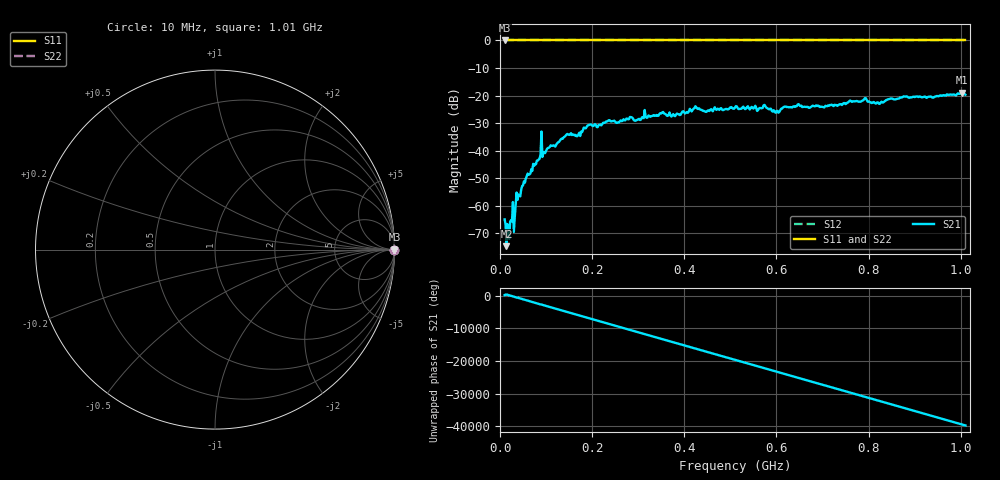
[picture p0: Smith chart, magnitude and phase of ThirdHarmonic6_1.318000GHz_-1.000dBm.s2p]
! 8/16/2025 2:38:17 PM
! C:\ANRITSUVNA\TEMP\TEMP.S2P
! CHANNEL.1
! TR.MEASUREMENT
! RAW.DATA
! RF.CORRECTION.OFF
! AVERAGING.OFF
! IF.BANDWIDTH: 5KHZ
! SWEEPTYPE:  FREQ.SWEEP(Linear)
! Reference Plane Port Info
! PORT:  PORT1  PORT2
! DISTANCE:  0  m  0  m
! TIME:  0  s  0  s
! PHASE.OFFSET:  0  deg.  0  deg.
! LOSS:  0  dB  0  dB
! REF.LOSS:  0  dB  0  dB
! REF.FREQ:  0  Hz  0  Hz
! Power Info
! POWER:  -20  dBm  -20  dBm
! EFF.POWER:  -20  dBm  -20  dBm
! SOURCE.ATTEN:  0  dB  0  dB
! TEST.ATTEN:  0  dB  0  dB
# GHZ S RI R 50.0
! FREQ.GHZ  S11RE  S11IM  S21RE  S21IM  S12RE  S12IM  S22RE  S22IM
!; PortSelection: Port_12
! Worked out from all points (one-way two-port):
!   501 points, 10 MHz to 1.01 GHz, reference 50 ohm
!   highest |S21| = -18.93 dB at 1.002 GHz (marker M1); lowest = -74.6 dB at 14 MHz (marker M2)
!   lowest |S11| = 0.0 dB at 10 MHz (marker M3)
!   |S11| at or under -10 dB: nowhere
!   |S22| runs from 0.0 to 0.0 dB; largest |S21 - S12| = 1.1
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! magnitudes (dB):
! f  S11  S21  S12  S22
! 10 MHz  0.0  -64.9  0.0  0.0
! 14 MHz  0.0  -74.6  0.0  0.0
! 18 MHz  0.0  -67.5  0.0  0.0
! 34 MHz  0.0  -59.8  0.0  0.0
! 38 MHz  0.0  -57.8  0.0  0.0
! 56 MHz  0.0  -50.1  0.0  0.0
! 82 MHz  0.0  -43.6  0.0  0.0
! 86 MHz  0.0  -42.9  0.0  0.0
! 144 MHz  0.0  -34.2  0.0  0.0
! 178 MHz  0.0  -33.3  0.0  0.0
! 194 MHz  0.0  -30.6  0.0  0.0
! 344 MHz  0.0  -27.3  0.0  0.0
! 376 MHz  0.0  -26.7  0.0  0.0
! 424 MHz  0.0  -23.9  0.0  0.0
! 510 MHz  0.0  -24.3  0.0  0.0
! 576 MHz  0.0  -23.9  0.0  0.0
! 602 MHz  0.0  -25.5  0.0  0.0
! 618 MHz  0.0  -24.0  0.0  0.0
! 678 MHz  0.0  -23.7  0.0  0.0
! 844 MHz  0.0  -21.3  0.0  0.0
! 1.002 GHz  0.0  -18.9  0.0  0.0
! 1.01 GHz  0.0  -19.7  0.0  0.0
